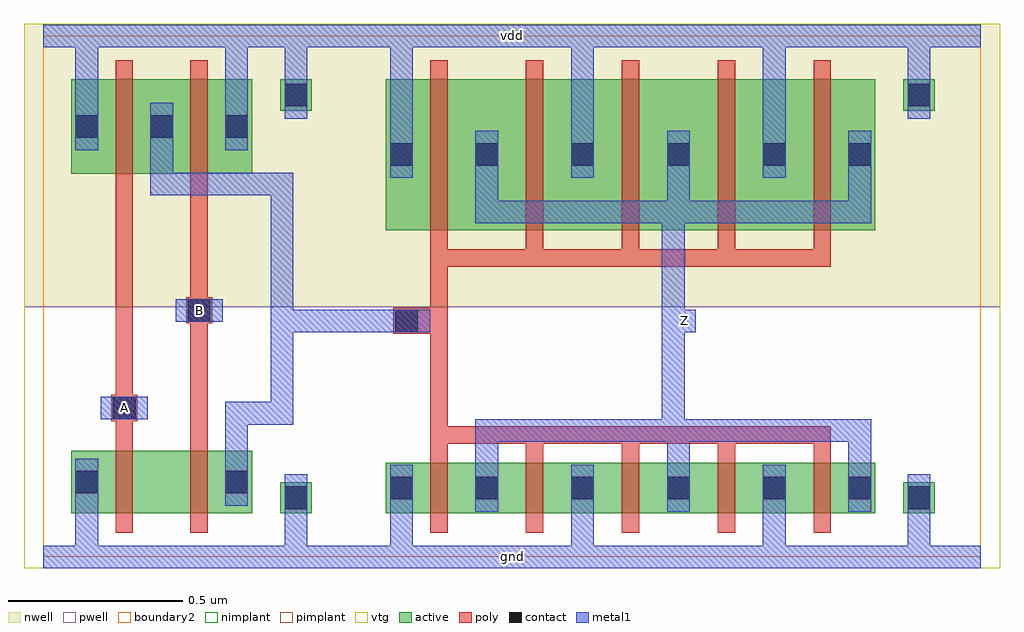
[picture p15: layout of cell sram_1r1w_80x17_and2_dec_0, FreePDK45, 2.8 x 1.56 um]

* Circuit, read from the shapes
.subckt sram_1r1w_80x17_and2_dec_0 A B Z gnd vdd
M1 sram_1r1w_80x17_pnand2_0/sram_1r1w_80x17_nmos_m1_w0_180_sm1_dactive_2/D A gnd gnd nfet w=0.18u l=0.05u
M2 sram_1r1w_80x17_pinv_0_1/A B sram_1r1w_80x17_pnand2_0/sram_1r1w_80x17_nmos_m1_w0_180_sm1_dactive_2/D gnd nfet w=0.18u l=0.05u
M3 Z sram_1r1w_80x17_pinv_0_1/A gnd gnd nfet w=0.145u l=0.05u m=5
M4 sram_1r1w_80x17_pinv_0_1/A A vdd vdd pfet w=0.27u l=0.05u
M5 vdd B sram_1r1w_80x17_pinv_0_1/A vdd pfet w=0.27u l=0.05u
M6 Z sram_1r1w_80x17_pinv_0_1/A vdd vdd pfet w=0.4325u l=0.05u m=5
.ends

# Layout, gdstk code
import gdstk
lib = gdstk.Library(unit=1e-6, precision=5e-10)
def R(c, l, rs):  # rectangles x0, y0, x1, y1
    for r in rs: c.add(gdstk.rectangle(r[:2], r[2:], *l))
def A(c, l, x, y, w, h, nx, ny, dx, dy):  # array of equal rectangles
    R(c, l, [(x+i*dx, y+j*dy, x+i*dx+w, y+j*dy+h) for i in range(nx) for j in range(ny)])
active = (1, 0)
pwell = (2, 0)
nwell = (3, 0)
nimplant = (4, 0)
pimplant = (5, 0)
vtg = (6, 0)
poly = (9, 0)
contact = (10, 0)
metal1 = (11, 0)
boundary2 = (239, 0)

sram_1r1w_80x17_contact_ = lib.new_cell('sram_1r1w_80x17_contact_11')
R(sram_1r1w_80x17_contact_, active, [(0,0.0225,0.09,0.1125)])
R(sram_1r1w_80x17_contact_, nwell, [(-0.055,-0.0325,0.145,0.1675)])
R(sram_1r1w_80x17_contact_, pimplant, [(0,0.0225,0.09,0.1125)])
R(sram_1r1w_80x17_contact_, contact, [(0.0125,0.035,0.0775,0.1)])
R(sram_1r1w_80x17_contact_, metal1, [(0.0125,0,0.0775,0.135)])
R(sram_1r1w_80x17_contact_, boundary2, [(-0.055,-0.0325,0.145,0.1675)])

sram_1r1w_80x17_pmos_m1_ = lib.new_cell('sram_1r1w_80x17_pmos_m1_w0_270_sm1_dm1')
R(sram_1r1w_80x17_pmos_m1_, active, [(0,0,0.305,0.27)])
R(sram_1r1w_80x17_pmos_m1_, nwell, [(-0.08,-0.08,0.385,0.35)])
R(sram_1r1w_80x17_pmos_m1_, pimplant, [(0,0,0.305,0.27)])
R(sram_1r1w_80x17_pmos_m1_, vtg, [(-0.08,-0.08,0.385,0.35)])
R(sram_1r1w_80x17_pmos_m1_, poly, [(0.1275,-0.055,0.1775,0.325), (0.1275,-0.055,0.1775,0.325)])
R(sram_1r1w_80x17_pmos_m1_, metal1, [(0.0125,0.0675,0.0775,0.2025), (0.2275,0.0675,0.2925,0.2025)])
R(sram_1r1w_80x17_pmos_m1_, boundary2, [(-0.08,-0.08,0.385,0.35)])
sram_1r1w_80x17_pmos_m1_.add(gdstk.Reference(sram_1r1w_80x17_contact_, (0,0.0675)))
sram_1r1w_80x17_pmos_m1_.add(gdstk.Reference(sram_1r1w_80x17_contact_, (0.215,0.0675)))
sram_1r1w_80x17_pmos_m1_.add(gdstk.Label('G', (0.1525,0.135), layer=9, texttype=0))
sram_1r1w_80x17_pmos_m1_.add(gdstk.Label('S', (0.045,0.135), layer=11, texttype=0))
sram_1r1w_80x17_pmos_m1_.add(gdstk.Label('D', (0.26,0.135), layer=11, texttype=0))

c_sram_1r1w_80x17_contact_ = lib.new_cell('sram_1r1w_80x17_contact_10')
R(c_sram_1r1w_80x17_contact_, active, [(0,0.0225,0.09,0.1125)])
R(c_sram_1r1w_80x17_contact_, pwell, [(-0.055,-0.0325,0.145,0.1675)])
R(c_sram_1r1w_80x17_contact_, nimplant, [(0,0.0225,0.09,0.1125)])
R(c_sram_1r1w_80x17_contact_, contact, [(0.0125,0.035,0.0775,0.1)])
R(c_sram_1r1w_80x17_contact_, metal1, [(0.0125,0,0.0775,0.135)])
R(c_sram_1r1w_80x17_contact_, boundary2, [(-0.055,-0.0325,0.145,0.1675)])

sram_1r1w_80x17_nmos_m1_ = lib.new_cell('sram_1r1w_80x17_nmos_m1_w0_180_sm1_dactive')
R(sram_1r1w_80x17_nmos_m1_, active, [(0,0,0.305,0.18), (0.215,0.045,0.305,0.135)])
R(sram_1r1w_80x17_nmos_m1_, pwell, [(-0.08,-0.08,0.385,0.26)])
R(sram_1r1w_80x17_nmos_m1_, nimplant, [(0,0,0.305,0.18)])
R(sram_1r1w_80x17_nmos_m1_, vtg, [(-0.08,-0.08,0.385,0.26)])
R(sram_1r1w_80x17_nmos_m1_, poly, [(0.1275,-0.055,0.1775,0.235), (0.1275,-0.055,0.1775,0.235)])
R(sram_1r1w_80x17_nmos_m1_, metal1, [(0.0125,0.0225,0.0775,0.1575)])
R(sram_1r1w_80x17_nmos_m1_, boundary2, [(-0.08,-0.08,0.385,0.26)])
sram_1r1w_80x17_nmos_m1_.add(gdstk.Reference(c_sram_1r1w_80x17_contact_, (0,0.0225)))
sram_1r1w_80x17_nmos_m1_.add(gdstk.Label('G', (0.1525,0.09), layer=9, texttype=0))
sram_1r1w_80x17_nmos_m1_.add(gdstk.Label('S', (0.045,0.09), layer=11, texttype=0))
sram_1r1w_80x17_nmos_m1_.add(gdstk.Label('D', (0.26,0.09), layer=1, texttype=0))

c_sram_1r1w_80x17_nmos_m1_ = lib.new_cell('sram_1r1w_80x17_nmos_m1_w0_180_sactive_dm1')
R(c_sram_1r1w_80x17_nmos_m1_, active, [(0,0,0.305,0.18), (0,0.045,0.09,0.135)])
R(c_sram_1r1w_80x17_nmos_m1_, pwell, [(-0.08,-0.08,0.385,0.26)])
R(c_sram_1r1w_80x17_nmos_m1_, nimplant, [(0,0,0.305,0.18)])
R(c_sram_1r1w_80x17_nmos_m1_, vtg, [(-0.08,-0.08,0.385,0.26)])
R(c_sram_1r1w_80x17_nmos_m1_, poly, [(0.1275,-0.055,0.1775,0.235), (0.1275,-0.055,0.1775,0.235)])
R(c_sram_1r1w_80x17_nmos_m1_, metal1, [(0.2275,0.0225,0.2925,0.1575)])
R(c_sram_1r1w_80x17_nmos_m1_, boundary2, [(-0.08,-0.08,0.385,0.26)])
c_sram_1r1w_80x17_nmos_m1_.add(gdstk.Reference(c_sram_1r1w_80x17_contact_, (0.215,0.0225)))
c_sram_1r1w_80x17_nmos_m1_.add(gdstk.Label('G', (0.1525,0.09), layer=9, texttype=0))
c_sram_1r1w_80x17_nmos_m1_.add(gdstk.Label('S', (0.045,0.09), layer=1, texttype=0))
c_sram_1r1w_80x17_nmos_m1_.add(gdstk.Label('D', (0.26,0.09), layer=11, texttype=0))

c_sram_1r1w_80x17_contact__ = lib.new_cell('sram_1r1w_80x17_contact_12')
R(c_sram_1r1w_80x17_contact__, active, [(0,0.0225,0.09,0.1125)])
R(c_sram_1r1w_80x17_contact__, nwell, [(-0.055,-0.0325,0.145,0.1675)])
R(c_sram_1r1w_80x17_contact__, nimplant, [(0,0.0225,0.09,0.1125)])
R(c_sram_1r1w_80x17_contact__, contact, [(0.0125,0.035,0.0775,0.1)])
R(c_sram_1r1w_80x17_contact__, metal1, [(0.0125,0,0.0775,0.135)])
R(c_sram_1r1w_80x17_contact__, boundary2, [(-0.055,-0.0325,0.145,0.1675)])

c_sram_1r1w_80x17_contact___ = lib.new_cell('sram_1r1w_80x17_contact_13')
R(c_sram_1r1w_80x17_contact___, active, [(0,0.0225,0.09,0.1125)])
R(c_sram_1r1w_80x17_contact___, pwell, [(-0.055,-0.0325,0.145,0.1675)])
R(c_sram_1r1w_80x17_contact___, pimplant, [(0,0.0225,0.09,0.1125)])
R(c_sram_1r1w_80x17_contact___, contact, [(0.0125,0.035,0.0775,0.1)])
R(c_sram_1r1w_80x17_contact___, metal1, [(0.0125,0,0.0775,0.135)])
R(c_sram_1r1w_80x17_contact___, boundary2, [(-0.055,-0.0325,0.145,0.1675)])

c_sram_1r1w_80x17_contact____ = lib.new_cell('sram_1r1w_80x17_contact_14')
R(c_sram_1r1w_80x17_contact____, poly, [(0.03,0,0.105,0.075)])
R(c_sram_1r1w_80x17_contact____, contact, [(0.035,0.005,0.1,0.07)])
R(c_sram_1r1w_80x17_contact____, metal1, [(0,0.005,0.135,0.07)])
R(c_sram_1r1w_80x17_contact____, boundary2, [(0,0,0.135,0.075)])

sram_1r1w_80x17_pnand2 = lib.new_cell('sram_1r1w_80x17_pnand2')
R(sram_1r1w_80x17_pnand2, pwell, [(-0.055,-0.0325,0.9575,0.7175)])
R(sram_1r1w_80x17_pnand2, nwell, [(-0.055,0.7175,0.9575,1.53)])
R(sram_1r1w_80x17_pnand2, vtg, [(-0.055,-0.0325,0.9575,0.7175), (-0.055,0.7175,0.9575,1.53)])
R(sram_1r1w_80x17_pnand2, poly, [(0.2075,0.36,0.2575,1.045), (0.4225,0.36,0.4725,1.045), (0.2075,0.39,0.2325,0.465), (0.4225,0.67,0.4475,0.745)])
R(sram_1r1w_80x17_pnand2, metal1, [(0,-0.0325,0.9025,0.0325), (0.0925,-0.0325,0.1575,0.1475), (0.6925,0,0.7575,0.17), (0.5225,0.2825,0.5875,0.4125), (0.5225,0.38,0.5875,0.445), (0.555,0.38,0.685,0.445), (0.6525,0.38,0.7175,0.445), (0.165,0.395,0.3,0.46), (0.6525,0.4125,0.7175,1.07), (0.38,0.675,0.515,0.74), (0.3075,1.0375,0.3725,1.1025), (0.34,1.0375,0.685,1.1025), (0.6525,1.0375,0.7175,1.1025), (0.3075,1.07,0.3725,1.1675), (0.0925,1.1675,0.1575,1.5275), (0.5225,1.1675,0.5875,1.5275), (0.6925,1.325,0.7575,1.495), (0,1.4625,0.9025,1.5275)])
R(sram_1r1w_80x17_pnand2, boundary2, [(0,0,0.9025,1.495), (0,0,0.9025,1.495)])
sram_1r1w_80x17_pnand2.add(gdstk.Reference(sram_1r1w_80x17_pmos_m1_, (0.08,1.1)))
sram_1r1w_80x17_pnand2.add(gdstk.Reference(sram_1r1w_80x17_pmos_m1_, (0.295,1.1)))
sram_1r1w_80x17_pnand2.add(gdstk.Reference(sram_1r1w_80x17_nmos_m1_, (0.08,0.125)))
sram_1r1w_80x17_pnand2.add(gdstk.Reference(c_sram_1r1w_80x17_nmos_m1_, (0.295,0.125)))
sram_1r1w_80x17_pnand2.add(gdstk.Reference(c_sram_1r1w_80x17_contact__, (0.68,1.2575)))
sram_1r1w_80x17_pnand2.add(gdstk.Reference(c_sram_1r1w_80x17_contact___, (0.68,0.1025)))
sram_1r1w_80x17_pnand2.add(gdstk.Reference(c_sram_1r1w_80x17_contact____, (0.165,0.39)))
sram_1r1w_80x17_pnand2.add(gdstk.Reference(c_sram_1r1w_80x17_contact____, (0.38,0.67)))
sram_1r1w_80x17_pnand2.add(gdstk.Label('Z', (0.685,1.07), layer=11, texttype=0))
sram_1r1w_80x17_pnand2.add(gdstk.Label('gnd', (0.451,0), layer=11, texttype=0))
sram_1r1w_80x17_pnand2.add(gdstk.Label('vdd', (0.451,1.495), layer=11, texttype=0))
sram_1r1w_80x17_pnand2.add(gdstk.Label('A', (0.2325,0.4275), layer=11, texttype=0))
sram_1r1w_80x17_pnand2.add(gdstk.Label('B', (0.4475,0.7075), layer=11, texttype=0))

sram_1r1w_80x17_pmos_m5_ = lib.new_cell('sram_1r1w_80x17_pmos_m5_w0_432_sm1_dm1_da_p')
R(sram_1r1w_80x17_pmos_m5_, active, [(0,0,1.405,0.4325)])
R(sram_1r1w_80x17_pmos_m5_, nwell, [(-0.08,-0.08,1.485,0.5125)])
R(sram_1r1w_80x17_pmos_m5_, pimplant, [(0,0,1.405,0.4325)])
R(sram_1r1w_80x17_pmos_m5_, vtg, [(-0.08,-0.08,1.485,0.5125)])
A(sram_1r1w_80x17_pmos_m5_, poly, 0.1275, -0.055, 0.05, 0.5425, 5, 1, 0.275, 0)
R(sram_1r1w_80x17_pmos_m5_, poly, [(0.1275,-0.105,1.2775,-0.055)])
R(sram_1r1w_80x17_pmos_m5_, metal1, [(0.2575,0.02,1.3925,0.085), (0.2575,0.05,0.3225,0.215), (0.8075,0.05,0.8725,0.215), (1.3275,0.05,1.3925,0.215), (0.0125,0.15,0.0775,0.285), (0.5325,0.15,0.5975,0.285), (1.0825,0.15,1.1475,0.285)])
R(sram_1r1w_80x17_pmos_m5_, boundary2, [(-0.08,-0.105,1.485,0.5125)])
sram_1r1w_80x17_pmos_m5_.add(gdstk.Reference(sram_1r1w_80x17_contact_, (0,0.15)))
sram_1r1w_80x17_pmos_m5_.add(gdstk.Reference(sram_1r1w_80x17_contact_, (0.245,0.15)))
sram_1r1w_80x17_pmos_m5_.add(gdstk.Reference(sram_1r1w_80x17_contact_, (0.52,0.15)))
sram_1r1w_80x17_pmos_m5_.add(gdstk.Reference(sram_1r1w_80x17_contact_, (0.795,0.15)))
sram_1r1w_80x17_pmos_m5_.add(gdstk.Reference(sram_1r1w_80x17_contact_, (1.07,0.15)))
sram_1r1w_80x17_pmos_m5_.add(gdstk.Reference(sram_1r1w_80x17_contact_, (1.315,0.15)))
sram_1r1w_80x17_pmos_m5_.add(gdstk.Label('G', (0.7025,-0.08), layer=9, texttype=0))
sram_1r1w_80x17_pmos_m5_.add(gdstk.Label('S', (0.565,0.2175), layer=11, texttype=0))
sram_1r1w_80x17_pmos_m5_.add(gdstk.Label('S', (1.115,0.2175), layer=11, texttype=0))
sram_1r1w_80x17_pmos_m5_.add(gdstk.Label('S', (0.045,0.2175), layer=11, texttype=0))
sram_1r1w_80x17_pmos_m5_.add(gdstk.Label('D', (0.825,0.0525), layer=11, texttype=0))

sram_1r1w_80x17_nmos_m5_ = lib.new_cell('sram_1r1w_80x17_nmos_m5_w0_145_sm1_dm1_da_p')
R(sram_1r1w_80x17_nmos_m5_, active, [(0,0,1.405,0.145)])
R(sram_1r1w_80x17_nmos_m5_, pwell, [(-0.08,-0.08,1.485,0.225)])
R(sram_1r1w_80x17_nmos_m5_, nimplant, [(0,0,1.405,0.145)])
R(sram_1r1w_80x17_nmos_m5_, vtg, [(-0.08,-0.08,1.485,0.225)])
A(sram_1r1w_80x17_nmos_m5_, poly, 0.1275, -0.055, 0.05, 0.255, 5, 1, 0.275, 0)
R(sram_1r1w_80x17_nmos_m5_, poly, [(0.1275,0.2,1.2775,0.25)])
R(sram_1r1w_80x17_nmos_m5_, metal1, [(0.0125,0.005,0.0775,0.14), (0.5325,0.005,0.5975,0.14), (1.0825,0.005,1.1475,0.14), (0.2575,0.0725,0.3225,0.2375), (0.8075,0.0725,0.8725,0.2375), (1.3275,0.0725,1.3925,0.2375), (0.2575,0.205,1.3925,0.27)])
R(sram_1r1w_80x17_nmos_m5_, boundary2, [(-0.08,-0.08,1.485,0.27)])
sram_1r1w_80x17_nmos_m5_.add(gdstk.Reference(c_sram_1r1w_80x17_contact_, (0,0.005)))
sram_1r1w_80x17_nmos_m5_.add(gdstk.Reference(c_sram_1r1w_80x17_contact_, (0.245,0.005)))
sram_1r1w_80x17_nmos_m5_.add(gdstk.Reference(c_sram_1r1w_80x17_contact_, (0.52,0.005)))
sram_1r1w_80x17_nmos_m5_.add(gdstk.Reference(c_sram_1r1w_80x17_contact_, (0.795,0.005)))
sram_1r1w_80x17_nmos_m5_.add(gdstk.Reference(c_sram_1r1w_80x17_contact_, (1.07,0.005)))
sram_1r1w_80x17_nmos_m5_.add(gdstk.Reference(c_sram_1r1w_80x17_contact_, (1.315,0.005)))
sram_1r1w_80x17_nmos_m5_.add(gdstk.Label('G', (0.7025,0.225), layer=9, texttype=0))
sram_1r1w_80x17_nmos_m5_.add(gdstk.Label('S', (0.565,0.0725), layer=11, texttype=0))
sram_1r1w_80x17_nmos_m5_.add(gdstk.Label('S', (1.115,0.0725), layer=11, texttype=0))
sram_1r1w_80x17_nmos_m5_.add(gdstk.Label('S', (0.045,0.0725), layer=11, texttype=0))
sram_1r1w_80x17_nmos_m5_.add(gdstk.Label('D', (0.825,0.2375), layer=11, texttype=0))

sram_1r1w_80x17_pinv_0 = lib.new_cell('sram_1r1w_80x17_pinv_0')
R(sram_1r1w_80x17_pinv_0, pwell, [(-0.055,-0.0325,1.8425,0.7175)])
R(sram_1r1w_80x17_pinv_0, nwell, [(-0.055,0.7175,1.8425,1.53)])
R(sram_1r1w_80x17_pinv_0, vtg, [(-0.055,-0.0325,1.8425,0.7175), (-0.055,0.7175,1.8425,1.53)])
R(sram_1r1w_80x17_pinv_0, poly, [(0.2075,0.375,0.2575,0.8325), (0.14,0.64,0.2075,0.715)])
R(sram_1r1w_80x17_pinv_0, metal1, [(0,-0.0325,1.7875,0.0325), (0.0925,-0.0325,0.1575,0.13), (0.6125,-0.0325,0.6775,0.13), (1.1625,-0.0325,1.2275,0.13), (1.5775,0,1.6425,0.17), (0.8725,0.33,0.9375,1.0225), (0.0725,0.645,0.2075,0.71), (0.905,0.645,0.97,0.71), (0.0925,1.0875,0.1575,1.5275), (0.6125,1.0875,0.6775,1.5275), (1.1625,1.0875,1.2275,1.5275), (1.5775,1.325,1.6425,1.495), (0,1.4625,1.7875,1.5275)])
R(sram_1r1w_80x17_pinv_0, boundary2, [(0,0,1.7875,1.495), (0,0,1.7875,1.495)])
sram_1r1w_80x17_pinv_0.add(gdstk.Reference(sram_1r1w_80x17_pmos_m5_, (0.08,0.9375)))
sram_1r1w_80x17_pinv_0.add(gdstk.Reference(sram_1r1w_80x17_nmos_m5_, (0.08,0.125)))
sram_1r1w_80x17_pinv_0.add(gdstk.Reference(c_sram_1r1w_80x17_contact__, (1.565,1.2575)))
sram_1r1w_80x17_pinv_0.add(gdstk.Reference(c_sram_1r1w_80x17_contact___, (1.565,0.1025)))
sram_1r1w_80x17_pinv_0.add(gdstk.Reference(c_sram_1r1w_80x17_contact____, (0.0725,0.64)))
sram_1r1w_80x17_pinv_0.add(gdstk.Label('A', (0.14,0.6775), layer=11, texttype=0))
sram_1r1w_80x17_pinv_0.add(gdstk.Label('Z', (0.9375,0.6775), layer=11, texttype=0))
sram_1r1w_80x17_pinv_0.add(gdstk.Label('gnd', (0.894,0), layer=11, texttype=0))
sram_1r1w_80x17_pinv_0.add(gdstk.Label('vdd', (0.894,1.495), layer=11, texttype=0))

sram_1r1w_80x17_and2_dec = lib.new_cell('sram_1r1w_80x17_and2_dec_0')
R(sram_1r1w_80x17_and2_dec, metal1, [(0,-0.0325,2.69,0.0325), (0.165,0.395,0.3,0.46), (0.6525,0.645,0.7175,0.71), (0.685,0.645,1.0425,0.71), (1.8075,0.645,1.8725,0.71), (0.38,0.675,0.515,0.74), (0.6525,0.6775,0.7175,1.07), (0,1.4625,2.69,1.5275)])
R(sram_1r1w_80x17_and2_dec, boundary2, [(0,0,2.69,1.495)])
sram_1r1w_80x17_and2_dec.add(gdstk.Reference(sram_1r1w_80x17_pnand2, (0,0)))
sram_1r1w_80x17_and2_dec.add(gdstk.Reference(sram_1r1w_80x17_pinv_0, (0.9025,0)))
sram_1r1w_80x17_and2_dec.add(gdstk.Label('Z', (1.84,0.6775), layer=11, texttype=0))
sram_1r1w_80x17_and2_dec.add(gdstk.Label('A', (0.2325,0.4275), layer=11, texttype=0))
sram_1r1w_80x17_and2_dec.add(gdstk.Label('B', (0.4475,0.7075), layer=11, texttype=0))
sram_1r1w_80x17_and2_dec.add(gdstk.Label('gnd', (1.345,0), layer=11, texttype=0))
sram_1r1w_80x17_and2_dec.add(gdstk.Label('vdd', (1.345,1.495), layer=11, texttype=0))

lib.write_gds('sram_1r1w_80x17_and2_dec_0.gds')
